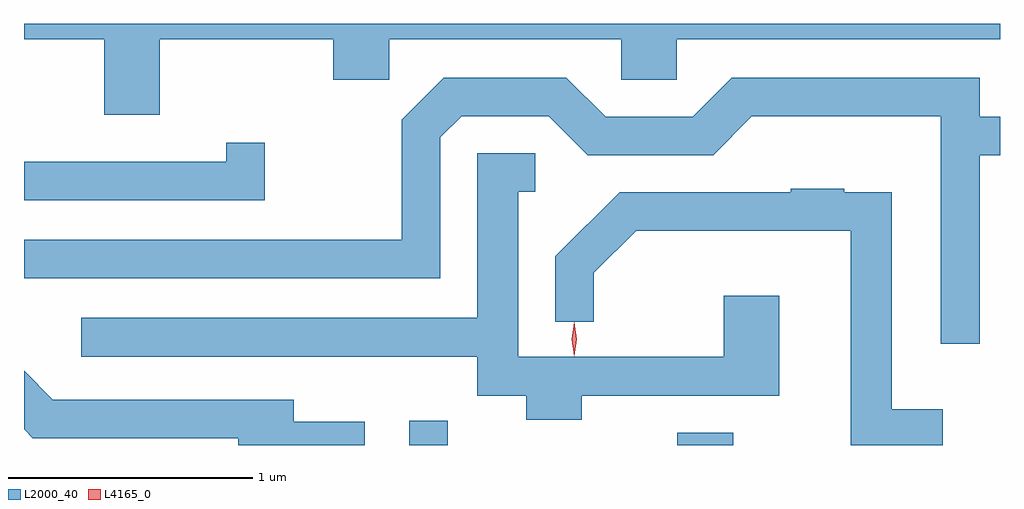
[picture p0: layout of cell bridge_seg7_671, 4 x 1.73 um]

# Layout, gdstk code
import gdstk
lib = gdstk.Library(unit=1e-6, precision=1e-09)
def R(c, l, rs):  # rectangles x0, y0, x1, y1
    for r in rs: c.add(gdstk.rectangle(r[:2], r[2:], *l))
def P(c, l, *ps):  # polygons
    for p in ps: c.add(gdstk.Polygon(p, *l))
L2000_40 = (2000, 40)
L4165_0 = (4165, 0)

bridge_seg7_671 = lib.new_cell('bridge_seg7_671')
R(bridge_seg7_671, L2000_40, [(1034.141,1668.252,1034.299,1668.353), (1035.241,1668.252,1035.469,1668.304)])
P(bridge_seg7_671, L2000_40, [(1033.119,1669.916),(1033.831,1669.916),(1033.831,1669.751),(1034.059,1669.751),(1034.059,1669.916),(1035.011,1669.916),(1035.011,1669.751),(1035.239,1669.751),(1035.239,1669.916),(1036.563,1669.916),(1036.563,1669.98),(1032.563,1669.98),(1032.563,1669.916),(1032.891,1669.916),(1032.891,1669.606),(1033.119,1669.606)],
  [(1036.479,1669.441),(1036.563,1669.441),(1036.563,1669.599),(1036.479,1669.599),(1036.479,1669.759),(1035.464,1669.759),(1035.304,1669.599),(1034.947,1669.599),(1034.786,1669.759),(1034.284,1669.759),(1034.111,1669.587),(1034.111,1669.094),(1032.563,1669.094),(1032.563,1668.936),(1034.269,1668.936),(1034.269,1669.514),(1034.357,1669.601),(1034.714,1669.601),(1034.873,1669.441),(1035.387,1669.441),(1035.546,1669.601),(1036.321,1669.601),(1036.321,1668.668),(1036.479,1668.668)],
  [(1033.549,1669.493),(1033.391,1669.493),(1033.391,1669.414),(1032.563,1669.414),(1032.563,1669.256),(1033.549,1669.256)],
  [(1034.849,1668.456),(1035.659,1668.456),(1035.659,1668.864),(1035.431,1668.864),(1035.431,1668.614),(1034.589,1668.614),(1034.589,1669.291),(1034.658,1669.291),(1034.658,1669.449),(1034.421,1669.449),(1034.421,1668.774),(1032.798,1668.774),(1032.798,1668.616),(1034.421,1668.616),(1034.421,1668.456),(1034.621,1668.456),(1034.621,1668.356),(1034.849,1668.356)],
  [(1036.328,1668.399),(1036.119,1668.399),(1036.119,1669.289),(1035.925,1669.289),(1035.925,1669.304),(1035.705,1669.304),(1035.705,1669.289),(1035.004,1669.289),(1034.741,1669.027),(1034.741,1668.758),(1034.899,1668.758),(1034.899,1668.959),(1035.072,1669.131),(1035.951,1669.131),(1035.951,1668.252),(1036.328,1668.252)],
  [(1033.959,1668.349),(1033.669,1668.349),(1033.669,1668.439),(1032.681,1668.439),(1032.563,1668.558),(1032.563,1668.317),(1032.599,1668.281),(1033.441,1668.281),(1033.441,1668.252),(1033.959,1668.252)])
P(bridge_seg7_671, L4165_0, [(1034.818,1668.617),(1034.818,1668.618),(1034.808,1668.687),(1034.818,1668.756),(1034.818,1668.757),(1034.818,1668.756),(1034.828,1668.687),(1034.818,1668.618)])

lib.write_gds('bridge_seg7_671.gds')
